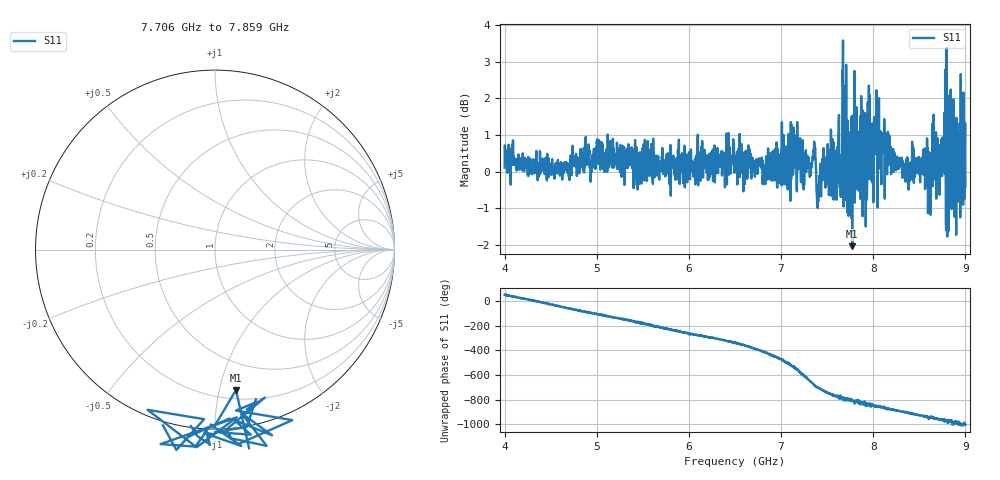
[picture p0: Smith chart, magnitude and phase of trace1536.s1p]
! Created with skrf 1.8.0 (http://scikit-rf.org).
# Hz S RI R 50.0
!freq ReS11 ImS11
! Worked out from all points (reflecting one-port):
!   1601 points, 4 GHz to 9 GHz, reference 50 ohm
!   lowest |S11| = -2.0 dB at 7.772 GHz (marker M1), VSWR 8.59, Z = 13.4 - j56.2 ohm
!   phase of S11 starts at 50 deg and turns -1051 deg over the sweep
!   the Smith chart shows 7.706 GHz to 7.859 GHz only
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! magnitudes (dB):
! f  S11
! 4 GHz  0.1
! 4.625 GHz  -0.2
! 4.897 GHz  0.2
! 5.25 GHz  0.2
! 5.875 GHz  0.1
! 6.5 GHz  0.3
! 6.825 GHz  -0.1
! 7.125 GHz  0.9
! 7.262 GHz  0.5
! 7.353 GHz  0.6
! 7.409 GHz  -0.7
! 7.484 GHz  0.1
! 7.638 GHz  -0.4
! 7.688 GHz  1.1
! 7.725 GHz  1.4
! 7.75 GHz  -0.4
! 7.772 GHz  -2.0
! 7.8 GHz  -0.8
! 7.825 GHz  0.9
! 7.891 GHz  0.2
! 7.909 GHz  1.5
! 8.038 GHz  1.1
! 8.375 GHz  0.1
! 8.612 GHz  0.5
! 8.759 GHz  0.7
! 8.906 GHz  1.0
! 8.959 GHz  2.1
! 9 GHz  -0.4
